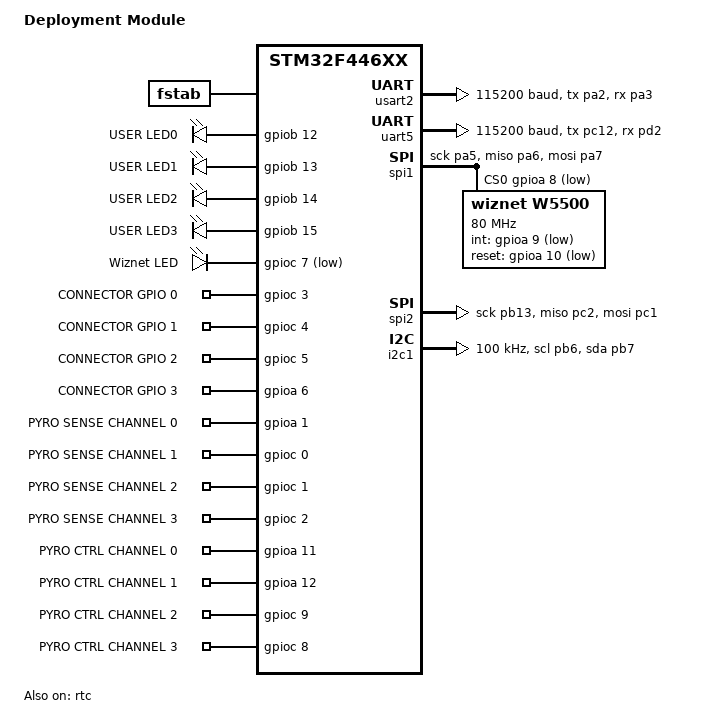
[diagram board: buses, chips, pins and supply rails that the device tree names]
/dts-v1/;
#include <st/f4/stm32f446Xe.dtsi>
#include <st/f4/stm32f446r(c-e)tx-pinctrl.dtsi>
#include <zephyr/dt-bindings/input/input-event-codes.h>

/ {
	model = "Deployment Module";
	compatible = "st,stm32f446xx";

	chosen {
		zephyr,sram = &sram0;
		zephyr,flash = &flash0;

		// Unsure if USART2 actually works
		zephyr,console = &uart5;
		zephyr,shell-uart = &uart5;
		zephyr,uart-pipe = &uart5;

		storage = &storage_partition;
		logfs = &lfs1;

		rtc = &rtc;
	};

	fstab {
		compatible = "zephyr,fstab";

		lfs1: lfs1 {
			compatible = "zephyr,fstab,littlefs";
			mount-point = "/lfs";
			partition = <&storage_partition>;
			automount;

			read-size = <16>;
			prog-size = <16>;
			cache-size = <64>;
			lookahead-size = <32>;
			block-cycles = <(90 * 1000)>;
		};
	};

	aliases {
		led0 = &red_led_0;
		led1 = &red_led_1;
		led2 = &red_led_2;
		led3 = &red_led_3;

		gpio0 = &gpio_0;
		gpio1 = &gpio_1;
		gpio2 = &gpio_2;
		gpio3 = &gpio_3;

		pyro-sns-0 = &pyro_sns_0;
		pyro-sns-1 = &pyro_sns_1;
		pyro-sns-2 = &pyro_sns_2;
		pyro-sns-3 = &pyro_sns_3;

		pyro-ctrl-0 = &pyro_ctrl_0;
		pyro-ctrl-1 = &pyro_ctrl_1;
		pyro-ctrl-2 = &pyro_ctrl_2;
		pyro-ctrl-3 = &pyro_ctrl_3;
	};

	leds: leds {
		compatible = "gpio-leds";

		// Note that GPIO_ACTIVE_HIGH means LEDs are OFF
		red_led_0: led_0 {
			gpios = <&gpiob 12 GPIO_ACTIVE_HIGH>;
			label = "USER LED0";
		};

		red_led_1: led_1 {
			gpios = <&gpiob 13 GPIO_ACTIVE_HIGH>;
			label = "USER LED1";
		};

		red_led_2: led_2 {
			gpios = <&gpiob 14 GPIO_ACTIVE_HIGH>;
			label = "USER LED2";
		};

		red_led_3: led_3 {
			gpios = <&gpiob 15 GPIO_ACTIVE_HIGH>;
			label = "USER LED3";
		};

		wiz_led: wiz_led {
			gpios = <&gpioc 7 GPIO_ACTIVE_LOW>;
			label = "Wiznet LED";
		};
	};

	connector: gpios {
		compatible = "gpio-keys";

		gpio_0: gpios_0 {
			gpios = <&gpioc 3 (GPIO_PULL_DOWN | GPIO_ACTIVE_HIGH)>;
			label = "CONNECTOR GPIO 0";
		};

		gpio_1: gpios_1 {
			gpios = <&gpioc 4 (GPIO_PULL_DOWN | GPIO_ACTIVE_HIGH)>;
			label = "CONNECTOR GPIO 1";
		};

		gpio_2: gpios_2 {
			gpios = <&gpioc 5 (GPIO_PULL_DOWN | GPIO_ACTIVE_HIGH)>;
			label = "CONNECTOR GPIO 2";
		};

		gpio_3: gpios_3 {
			gpios = <&gpioa 6 (GPIO_PULL_DOWN | GPIO_ACTIVE_HIGH)>;
			label = "CONNECTOR GPIO 3";
		};
	};

	pyro_sns: pyro_sns {
		compatible = "gpio-keys";

		pyro_sns_0: pyro_sns_0 {
			gpios = <&gpioa 1 (GPIO_PULL_DOWN | GPIO_ACTIVE_HIGH)>;
			label = "PYRO SENSE CHANNEL 0";
		};

		pyro_sns_1: pyro_sns_1 {
			gpios = <&gpioc 0 (GPIO_PULL_DOWN | GPIO_ACTIVE_HIGH)>;
			label = "PYRO SENSE CHANNEL 1";
		};

		pyro_sns_2: pyro_sns_2 {
			gpios = <&gpioc 1 (GPIO_PULL_DOWN | GPIO_ACTIVE_HIGH)>;
			label = "PYRO SENSE CHANNEL 2";
		};

		pyro_sns_3: pyro_sns_3 {
			gpios = <&gpioc 2 (GPIO_PULL_DOWN | GPIO_ACTIVE_HIGH)>;
			label = "PYRO SENSE CHANNEL 3";
		};
	};

	pyro_ctrl: pyro_ctrl {
		compatible = "gpio-keys";

		pyro_ctrl_0: pyro_ctrl_0 {
			gpios = <&gpioa 11 (GPIO_PULL_DOWN | GPIO_ACTIVE_HIGH)>;
			label = "PYRO CTRL CHANNEL 0";
		};

		pyro_ctrl_1: pyro_ctrl_1 {
			gpios = <&gpioa 12 (GPIO_PULL_DOWN | GPIO_ACTIVE_HIGH)>;
			label = "PYRO CTRL CHANNEL 1";
		};

		pyro_ctrl_2: pyro_ctrl_2 {
			gpios = <&gpioc 9 (GPIO_PULL_DOWN | GPIO_ACTIVE_HIGH)>;
			label = "PYRO CTRL CHANNEL 2";
		};

		pyro_ctrl_3: pyro_ctrl_3 {
			gpios = <&gpioc 8 (GPIO_PULL_DOWN | GPIO_ACTIVE_HIGH)>;
			label = "PYRO CTRL CHANNEL 3";
		};
	};
};

&clk_lsi {
	status = "okay";
};

&clk_hsi {
	clock-frequency = <DT_FREQ_M(16)>;
	status = "okay";
};

&rcc {
	clocks = <&clk_hsi>;
	clock-frequency = <DT_FREQ_M(16)>;
	ahb-prescaler = <1>;
	apb1-prescaler = <2>;
	apb2-prescaler = <1>;
};

&usart2 {
	pinctrl-0 = <&usart2_tx_pa2 &usart2_rx_pa3>;

	pinctrl-names = "default";
	current-speed = <115200>;
	status = "okay";

	// Note that the pinouts were done incorrectly at the schematic level
	tx-rx-swap;
};

&uart5 {
	pinctrl-0 = <&uart5_tx_pc12 &uart5_rx_pd2>;
	pinctrl-names = "default";
	current-speed = <115200>;
	status = "okay";
};

&spi1 {
	pinctrl-0 = <&spi1_sck_pa5
				 &spi1_miso_pa6 &spi1_mosi_pa7>;
	cs-gpios = <&gpioa 8 GPIO_ACTIVE_LOW>;

	pinctrl-names = "default";
	status = "okay";

	w5500: w5500@0 {
		compatible = "wiznet,w5500";
		reg = <0x0>;
		spi-max-frequency = <DT_FREQ_M(80)>;
		int-gpios = <&gpioa 9 GPIO_ACTIVE_LOW>;
		reset-gpios = <&gpioa 10 GPIO_ACTIVE_LOW>;
		zephyr,random-mac-address;
	};
};

&spi2 {
	pinctrl-0 = <&spi2_sck_pb13 &spi2_miso_pc2 &spi2_mosi_pc1>;
	cs-gpios = <&gpioc 0 GPIO_ACTIVE_LOW>;

	pinctrl-names = "default";
	status = "okay";
};

&i2c1 {
	pinctrl-0 = <&i2c1_scl_pb6 &i2c1_sda_pb7>;
	pinctrl-names = "default";
	status = "okay";
	clock-frequency = <I2C_BITRATE_STANDARD>;
};

// TODO: Figure this out when we need it
//&i2s3 {
//	mck-enabled;
//	pinctrl-0 = <&i2s3_ws_pa4 &i2s3_ck_pc10 &i2s3_sd_pc12 &i2s3_mck_pc7>;
//	pinctrl-names = "default";
//	clocks = <&rcc STM32_CLOCK(APB1, 15U)>;
//	status = "okay";
//};

&rtc {
	clocks = <&rcc STM32_CLOCK_BUS_APB1 0x10000000>,
			 <&rcc STM32_SRC_LSI RTC_SEL(2)>;
	status = "okay";
};

&backup_sram {
	status = "okay";
};

&flash0 {
	partitions {
		compatible = "fixed-partitions";
		#address-cells = <1>;
		#size-cells = <1>;

		boot_partition: partition@0 {
			label = "mcuboot";
			reg = <0x00000000 DT_SIZE_K(64)>;
			read-only;
		};

		/*
		 * The flash starting at 0x00010000 and ending at
		 * 0x0001ffff (sectors 16-31) is reserved for use
		 * by the application.
		 */
		storage_partition: partition@10000 {
			label = "storage";
			reg = <0x00010000 DT_SIZE_K(64)>;
		};

		slot0_partition: partition@20000 {
			label = "image-0";
			reg = <0x00020000 DT_SIZE_K(128)>;
		};

		slot1_partition: partition@40000 {
			label = "image-1";
			reg = <0x00040000 DT_SIZE_K(128)>;
		};

		scratch_partition: partition@60000 {
			label = "image-scratch";
			reg = <0x00060000 DT_SIZE_K(128)>;
		};
	};
};
